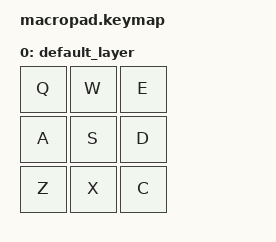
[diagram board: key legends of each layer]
#include <behaviors.dtsi>
#include <dt-bindings/zmk/keys.h>

/ {
    chosen {
        zmk,kscan = &kscan0;
    };

    kscan0: kscan_0 {
        compatible = "zmk,kscan-gpio-matrix";
        diode-direction = "row2col";

        col-gpios
            = <&gpio0 20 (GPIO_ACTIVE_HIGH | GPIO_PULL_DOWN)>
            , <&gpio0 22 (GPIO_ACTIVE_HIGH | GPIO_PULL_DOWN)>
            , <&gpio0 24 (GPIO_ACTIVE_HIGH | GPIO_PULL_DOWN)>
            ;

        row-gpios
            = <&gpio0 6  GPIO_ACTIVE_HIGH>
            , <&gpio0 8  GPIO_ACTIVE_HIGH>
            , <&gpio0 17 GPIO_ACTIVE_HIGH>
            ;
    };

    keymap {
        compatible = "zmk,keymap";
        default_layer {
            bindings = <
                &kp Q  &kp W  &kp E
                &kp A  &kp S  &kp D
                &kp Z  &kp X  &kp C
            >;
        };
    };
};
